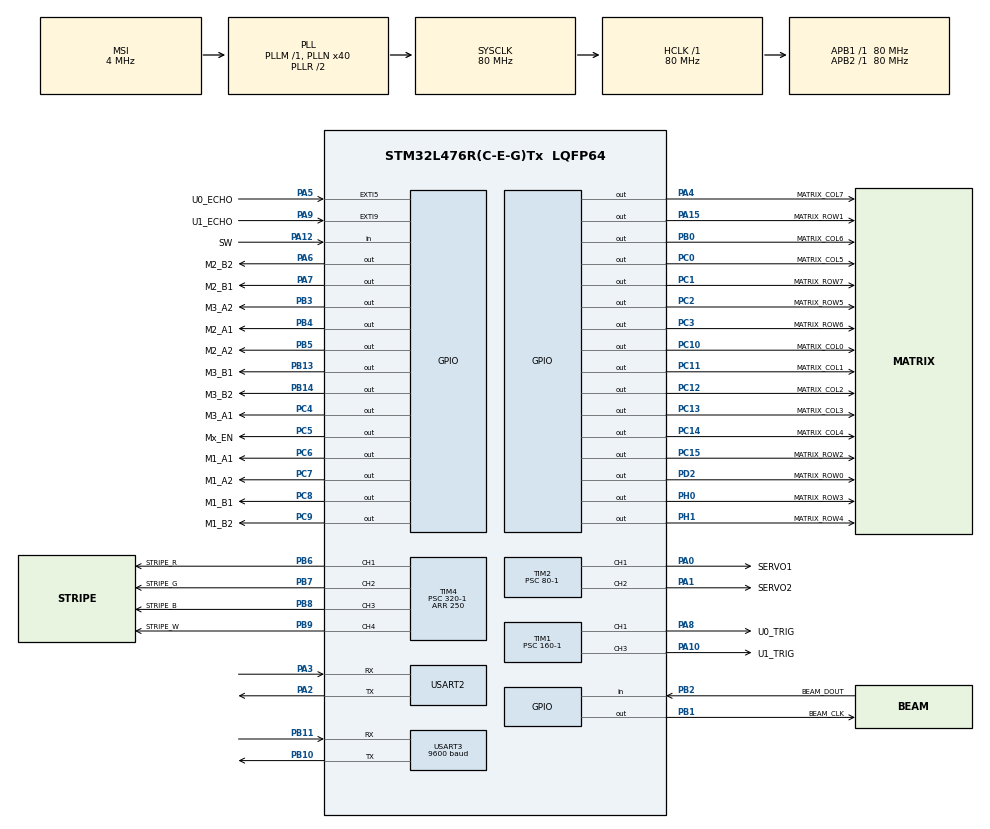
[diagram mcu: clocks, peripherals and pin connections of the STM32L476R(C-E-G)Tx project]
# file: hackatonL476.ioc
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Dma.Request0=USART3_RX
Dma.USART3_RX.0.Direction=DMA_PERIPH_TO_MEMORY
Dma.USART3_RX.0.Instance=DMA1_Channel3
Dma.USART3_RX.0.MemDataAlignment=DMA_MDATAALIGN_BYTE
Dma.USART3_RX.0.MemInc=DMA_MINC_ENABLE
Dma.USART3_RX.0.Mode=DMA_CIRCULAR
Dma.USART3_RX.0.PeriphDataAlignment=DMA_PDATAALIGN_BYTE
Dma.USART3_RX.0.PeriphInc=DMA_PINC_DISABLE
Dma.USART3_RX.0.Priority=DMA_PRIORITY_LOW
Mcu.Family=STM32L4
Mcu.Name=STM32L476R(C-E-G)Tx
Mcu.Package=LQFP64
NVIC.DMA1_Channel3_IRQn=true\:0\:0\:false\:false\:true\:false\:true\:true
NVIC.EXTI9_5_IRQn=true\:0\:0\:false\:false\:true\:true\:true\:true
NVIC.PriorityGroup=NVIC_PRIORITYGROUP_4
NVIC.TIM7_IRQn=true\:0\:0\:false\:false\:true\:true\:true\:true
NVIC.USART3_IRQn=true\:0\:0\:false\:false\:true\:true\:true\:true
PA0.GPIO_Label=SERVO1
PA0.Signal=S_TIM2_CH1
PA1.GPIO_Label=SERVO2
PA1.Signal=S_TIM2_CH2
PA10.GPIO_Label=U1_TRIG
PA10.Signal=S_TIM1_CH3
PA12.GPIO_Label=SW
PA12.GPIO_PuPd=GPIO_PULLUP
PA12.Signal=GPIO_Input
PA13\ (JTMS-SWDIO).Mode=Serial_Wire
PA13\ (JTMS-SWDIO).Signal=SYS_JTMS-SWDIO
PA14\ (JTCK-SWCLK).Mode=Serial_Wire
PA14\ (JTCK-SWCLK).Signal=SYS_JTCK-SWCLK
PA15\ (JTDI).GPIO_Label=MATRIX_ROW1
PA15\ (JTDI).Signal=GPIO_Output
PA2.Mode=Asynchronous
PA2.Signal=USART2_TX
PA3.Mode=Asynchronous
PA3.Signal=USART2_RX
PA4.GPIO_Label=MATRIX_COL7
PA4.Signal=GPIO_Output
PA5.GPIO_Label=U0_ECHO
PA5.GPIO_ModeDefaultEXTI=GPIO_MODE_IT_RISING_FALLING
PA5.Signal=GPXTI5
PA6.GPIO_Label=M2_B2
PA6.Signal=GPIO_Output
PA7.GPIO_Label=M2_B1
PA7.Signal=GPIO_Output
PA8.GPIO_Label=U0_TRIG
PA8.Signal=S_TIM1_CH1
PA9.GPIO_Label=U1_ECHO
PA9.GPIO_ModeDefaultEXTI=GPIO_MODE_IT_RISING_FALLING
PA9.Signal=GPXTI9
PB0.GPIO_Label=MATRIX_COL6
PB0.Signal=GPIO_Output
PB1.GPIO_Label=BEAM_CLK
PB1.Signal=GPIO_Output
PB10.Mode=Asynchronous
PB10.Signal=USART3_TX
PB11.Mode=Asynchronous
PB11.Signal=USART3_RX
PB13.GPIO_Label=M3_B1
PB13.Signal=GPIO_Output
PB14.GPIO_Label=M3_B2
PB14.Signal=GPIO_Output
PB2.GPIO_Label=BEAM_DOUT
PB2.Signal=GPIO_Input
PB3\ (JTDO-TRACESWO).GPIO_Label=M3_A2
PB3\ (JTDO-TRACESWO).Signal=GPIO_Output
PB4\ (NJTRST).GPIO_Label=M2_A1
PB4\ (NJTRST).Signal=GPIO_Output
PB5.GPIO_Label=M2_A2
PB5.Signal=GPIO_Output
PB6.GPIO_Label=STRIPE_R
PB6.Signal=S_TIM4_CH1
PB7.GPIO_Label=STRIPE_G
PB7.Signal=S_TIM4_CH2
PB8.GPIO_Label=STRIPE_B
PB8.Signal=S_TIM4_CH3
PB9.GPIO_Label=STRIPE_W
PB9.Signal=S_TIM4_CH4
PC0.GPIO_Label=MATRIX_COL5
PC0.Signal=GPIO_Output
PC1.GPIO_Label=MATRIX_ROW7
PC1.Signal=GPIO_Output
PC10.GPIO_Label=MATRIX_COL0
PC10.Signal=GPIO_Output
PC11.GPIO_Label=MATRIX_COL1
PC11.Signal=GPIO_Output
PC12.GPIO_Label=MATRIX_COL2
PC12.Signal=GPIO_Output
PC13.GPIO_Label=MATRIX_COL3
PC13.Signal=GPIO_Output
PC14-OSC32_IN\ (PC14).GPIO_Label=MATRIX_COL4
PC14-OSC32_IN\ (PC14).Signal=GPIO_Output
PC15-OSC32_OUT\ (PC15).GPIO_Label=MATRIX_ROW2
PC15-OSC32_OUT\ (PC15).Signal=GPIO_Output
PC2.GPIO_Label=MATRIX_ROW5
PC2.Signal=GPIO_Output
PC3.GPIO_Label=MATRIX_ROW6
PC3.Signal=GPIO_Output
PC4.GPIO_Label=M3_A1
PC4.Signal=GPIO_Output
PC5.GPIO_Label=Mx_EN
PC5.Signal=GPIO_Output
PC6.GPIO_Label=M1_A1
PC6.Signal=GPIO_Output
PC7.GPIO_Label=M1_A2
PC7.Signal=GPIO_Output
PC8.GPIO_Label=M1_B1
PC8.Signal=GPIO_Output
PC9.GPIO_Label=M1_B2
PC9.Signal=GPIO_Output
PD2.GPIO_Label=MATRIX_ROW0
PD2.Signal=GPIO_Output
PH0-OSC_IN\ (PH0).GPIO_Label=MATRIX_ROW3
PH0-OSC_IN\ (PH0).Signal=GPIO_Output
PH1-OSC_OUT\ (PH1).GPIO_Label=MATRIX_ROW4
PH1-OSC_OUT\ (PH1).Signal=GPIO_Output
ProjectManager.HeapSize=0x200
ProjectManager.StackSize=0x400
ProjectManager.TargetToolchain=STM32CubeIDE
RCC.AHBFreq_Value=80000000
RCC.APB1Freq_Value=80000000
RCC.APB1TimFreq_Value=80000000
RCC.APB2Freq_Value=80000000
RCC.APB2TimFreq_Value=80000000
RCC.CortexFreq_Value=80000000
RCC.HCLKFreq_Value=80000000
RCC.HSE_VALUE=8000000
RCC.HSI_VALUE=16000000
RCC.LSE_VALUE=32768
RCC.MSI_VALUE=4000000
RCC.PLLN=40
RCC.SYSCLKFreq_VALUE=80000000
RCC.SYSCLKSource=RCC_SYSCLKSOURCE_PLLCLK
RCC.VCOOutputFreq_Value=160000000
SH.S_TIM1_CH1.0=TIM1_CH1,PWM Generation1 CH1
SH.S_TIM1_CH3.0=TIM1_CH3,PWM Generation3 CH3
SH.S_TIM2_CH1.0=TIM2_CH1,PWM Generation1 CH1
SH.S_TIM2_CH2.0=TIM2_CH2,PWM Generation2 CH2
SH.S_TIM4_CH1.0=TIM4_CH1,PWM Generation1 CH1
SH.S_TIM4_CH2.0=TIM4_CH2,PWM Generation2 CH2
SH.S_TIM4_CH3.0=TIM4_CH3,PWM Generation3 CH3
SH.S_TIM4_CH4.0=TIM4_CH4,PWM Generation4 CH4
TIM1.Channel-PWM\ Generation1\ CH1=TIM_CHANNEL_1
TIM1.Channel-PWM\ Generation3\ CH3=TIM_CHANNEL_3
TIM1.Period=50000
TIM1.Prescaler=160-1
TIM1.Pulse-PWM\ Generation1\ CH1=5
TIM1.Pulse-PWM\ Generation3\ CH3=5
TIM2.Channel-PWM\ Generation1\ CH1=TIM_CHANNEL_1
TIM2.Channel-PWM\ Generation2\ CH2=TIM_CHANNEL_2
TIM2.Period=20000
TIM2.Prescaler=80-1
TIM4.Channel-PWM\ Generation1\ CH1=TIM_CHANNEL_1
TIM4.Channel-PWM\ Generation2\ CH2=TIM_CHANNEL_2
TIM4.Channel-PWM\ Generation3\ CH3=TIM_CHANNEL_3
TIM4.Channel-PWM\ Generation4\ CH4=TIM_CHANNEL_4
TIM4.Period=250
TIM4.Prescaler=320-1
TIM7.Period=1000
TIM7.Prescaler=80-1
USART2.VirtualMode-Asynchronous=VM_ASYNC
USART3.BaudRate=9600
USART3.VirtualMode-Asynchronous=VM_ASYNC
VP_TIM7_VS_ClockSourceINT.Mode=Enable_Timer
board=custom

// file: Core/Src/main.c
/* USER CODE BEGIN Header */
/**
  ******************************************************************************
  * @file           : main.c
  * @brief          : Main program body
  ******************************************************************************
  * @attention
  *
  * Copyright (c) 2024 STMicroelectronics.
  * All rights reserved.
  *
  * This software is licensed under terms that can be found in the LICENSE file
  * in the root directory of this software component.
  * If no LICENSE file comes with this software, it is provided AS-IS.
  *
  ******************************************************************************
  */
/* USER CODE END Header */
#include "main.h"

/* USER CODE BEGIN Includes */

#include <stdbool.h>
#include <stdio.h>
#include <string.h>
#include <stdarg.h>
#include <math.h>

#include "protocol.h"

/* USER CODE END Includes */

TIM_HandleTypeDef htim1;
TIM_HandleTypeDef htim2;
TIM_HandleTypeDef htim4;
TIM_HandleTypeDef htim7;

UART_HandleTypeDef huart2;
UART_HandleTypeDef huart3;
DMA_HandleTypeDef hdma_usart3_rx;

void SystemClock_Config(void);
static void MX_GPIO_Init(void);
static void MX_DMA_Init(void);
static void MX_TIM7_Init(void);
static void MX_TIM1_Init(void);
static void MX_USART2_UART_Init(void);
static void MX_TIM4_Init(void);
static void MX_TIM2_Init(void);
static void MX_USART3_UART_Init(void);

/* USER CODE BEGIN 0 */

#define SIGNAL_SET(signal, state) HAL_GPIO_WritePin((signal).port, (signal).pin, (state))
#define SIGNAL_GET(signal)        HAL_GPIO_ReadPin((signal).port, (signal).pin)

typedef struct {
	GPIO_TypeDef *port;
	uint16_t pin;
} signal_t;

#define MOTOR_NUM 3

typedef enum {
	MOTOR_DIR_NO_MOTION = 0,
	MOTOR_DIR_FORWARD = -1,
	MOTOR_DIR_BACKWARD = 1,
} motor_dir_t;

typedef struct {
	signal_t a1;
	signal_t a2;
	signal_t b1;
	signal_t b2;
	int8_t state;
	motor_dir_t dir;
	uint8_t counter;
	uint8_t prescaler;
} motor_t;

static motor_t motors[MOTOR_NUM];
static signal_t motor_sw;

void drive_step(motor_t *motor) {
	if(motor->dir==MOTOR_DIR_NO_MOTION) {
		return;
	}

	motor->counter++;
	if(motor->counter!=(motor->prescaler+1)) {
		return;
	}
	motor->counter %=(motor->prescaler+1);

	switch(motor->state) {
	    case 0: {
	    	SIGNAL_SET(motor->b2, GPIO_PIN_RESET);
	    	SIGNAL_SET(motor->a2, GPIO_PIN_RESET);
	    	SIGNAL_SET(motor->b1, GPIO_PIN_RESET);
	    	SIGNAL_SET(motor->a1, GPIO_PIN_SET);
	    	motor->state +=motor->dir;
	    } break;
	    case 1: {
	    	SIGNAL_SET(motor->a1, GPIO_PIN_RESET);
	    	SIGNAL_SET(motor->b2, GPIO_PIN_RESET);
	    	SIGNAL_SET(motor->a2, GPIO_PIN_RESET);
	    	SIGNAL_SET(motor->b1, GPIO_PIN_SET);
	    	motor->state +=motor->dir;
	    } break;
	    case 2: {
	    	SIGNAL_SET(motor->b1, GPIO_PIN_RESET);
	    	SIGNAL_SET(motor->a1, GPIO_PIN_RESET);
	    	SIGNAL_SET(motor->b2, GPIO_PIN_RESET);
	    	SIGNAL_SET(motor->a2, GPIO_PIN_SET);
	    	motor->state +=motor->dir;
      } break;
	    case 3: {
	    	SIGNAL_SET(motor->a2, GPIO_PIN_RESET);
	    	SIGNAL_SET(motor->b1, GPIO_PIN_RESET);
	    	SIGNAL_SET(motor->a1, GPIO_PIN_RESET);
	    	SIGNAL_SET(motor->b2, GPIO_PIN_SET);
	    	motor->state +=motor->dir;
      } break;
	    default: {
	      motor->state = 0;
      } break;
   }

   if(motor->state > 3) {
      motor->state = 0;
    }

   if(motor->state < 0) {
      motor->state = 3;
    }
}

void motor_vel(motor_t *motor, int8_t vel) {
	vel = (vel>100) ? 100 : (vel<-100) ? -100 : vel;

	if(vel>0) {
		motor->dir = MOTOR_DIR_FORWARD;
		motor->prescaler = (100 - vel)/10;
	} else if(vel<0) {
		motor->dir = MOTOR_DIR_BACKWARD;
		motor->prescaler = (100 + vel)/10;
	} else {
		motor->dir = MOTOR_DIR_NO_MOTION;
		motor->prescaler = 0;
	}
}

#define MATRIX_COLS 8
#define MATRIX_ROWS 8

typedef struct {
	signal_t cols[MATRIX_COLS];
	signal_t rows[MATRIX_ROWS];
	volatile uint8_t current_row;
  uint8_t bitmap[8][8];
} matrix_t;

uint8_t bitmap_empty[8][8] = {
	{0, 0, 0, 0, 0, 0, 0, 0},
	{0, 0, 0, 0, 0, 0, 0, 0},
	{0, 0, 0, 0, 0, 0, 0, 0},
	{0, 0, 0, 0, 0, 0, 0, 0},
	{0, 0, 0, 0, 0, 0, 0, 0},
	{0, 0, 0, 0, 0, 0, 0, 0},
	{0, 0, 0, 0, 0, 0, 0, 0},
	{0, 0, 0, 0, 0, 0, 0, 0},
};

uint8_t bitmap_full[8][8] = {
	{1, 1, 1, 1, 1, 1, 1, 1},
	{1, 1, 1, 1, 1, 1, 1, 1},
	{1, 1, 1, 1, 1, 1, 1, 1},
	{1, 1, 1, 1, 1, 1, 1, 1},
	{1, 1, 1, 1, 1, 1, 1, 1},
	{1, 1, 1, 1, 1, 1, 1, 1},
	{1, 1, 1, 1, 1, 1, 1, 1},
	{1, 1, 1, 1, 1, 1, 1, 1},
};

uint8_t bitmap_smile[8][8] = {
	{0, 0, 0, 0, 0, 0, 0, 0},
	{0, 1, 1, 0, 0, 1, 1, 0},
	{0, 1, 1, 0, 0, 1, 1, 0},
	{0, 0, 0, 0, 0, 0, 0, 0},
	{0, 0, 0, 0, 0, 0, 0, 0},
	{0, 1, 0, 0, 0, 0, 1, 0},
	{0, 1, 1, 0, 0, 1, 1, 0},
	{0, 0, 1, 1, 1, 1, 0, 0},
};

uint8_t bitmap_heart[8][8] = {
	{0, 1, 1, 0, 0, 1, 1, 0},
	{1, 1, 1, 1, 1, 1, 1, 1},
	{1, 1, 1, 1, 1, 1, 1, 1},
	{1, 1, 1, 1, 1, 1, 1, 1},
	{1, 1, 1, 1, 1, 1, 1, 1},
	{0, 1, 1, 1, 1, 1, 1, 0},
	{0, 0, 1, 1, 1, 1, 0, 0},
	{0, 0, 0, 1, 1, 0, 0, 0},
};

uint8_t bitmap_konar[8][8] = {
	{0, 0, 1, 1, 1, 0, 0, 0},
	{0, 1, 1, 1, 0, 1, 1, 0},
	{1, 1, 1, 1, 1, 0, 1, 1},
	{1, 1, 0, 1, 1, 1, 0, 0},
	{1, 1, 1, 1, 0, 1, 0, 1},
	{0, 1, 0, 1, 0, 0, 1, 1},
	{0, 0, 0, 1, 0, 0, 0, 0},
	{0, 0, 0, 1, 0, 0, 0, 0},
};

void matrix_step(matrix_t *matrix) {
	for(uint8_t i=0; i<MATRIX_ROWS; i++) {
		SIGNAL_SET(matrix->rows[i], 1);
	}
	for(uint8_t i=0; i<MATRIX_COLS; i++) {
		SIGNAL_SET(matrix->cols[i], 0);
	}

	matrix->current_row++;
	matrix->current_row %=MATRIX_ROWS;

	SIGNAL_SET(matrix->rows[matrix->current_row], 0);
	for(uint8_t i=0; i<MATRIX_COLS; i++) {
		SIGNAL_SET(matrix->cols[i], matrix->bitmap[MATRIX_COLS - i - 1][matrix->current_row]);
	}
}

static matrix_t matrix = {0};

void HAL_TIM_PeriodElapsedCallback(TIM_HandleTypeDef *htim) {
	if(htim==&htim7) {
		for(uint8_t i=0; i<MOTOR_NUM; i++) {
			drive_step(&motors[i]);
		}

		matrix_step(&matrix);
	}
}

#define ULTRA_NUM            2
#define ULTRA_TRIG_TIM       htim1
#define ULTRA_TO_SEC(delta)  (0.000002f*(delta))
#define ULTRA_SPEED_OF_SOUND 343.f

typedef struct {
	signal_t echo;
	uint32_t start;
	uint32_t end;
	uint32_t delta;
	bool valid;
	float dist;
} ultrasonic_t;

static ultrasonic_t ultras[ULTRA_NUM] = {0};

void HAL_GPIO_EXTI_Callback(uint16_t GPIO_Pin) {
	for(uint8_t i=0; i<ULTRA_NUM; i++) {
		if(GPIO_Pin==ultras[i].echo.pin) {
			if(HAL_GPIO_ReadPin(ultras[i].echo.port, ultras[i].echo.pin)) {
				ultras[i].valid = false;
				ultras[i].start = __HAL_TIM_GET_COUNTER(&ULTRA_TRIG_TIM);
			} else {
				ultras[i].end = __HAL_TIM_GET_COUNTER(&ULTRA_TRIG_TIM);
				ultras[i].delta = ultras[i].end - ultras[i].start;
				ultras[i].dist = ULTRA_TO_SEC(ultras[i].delta)*ULTRA_SPEED_OF_SOUND*0.5f;
				ultras[i].valid = true;
			}
		}
	}
}

/*static void logger(const char *format, ...) {
    va_list args;
    va_start(args, format);

	char buffer[256];
    const uint16_t len = vsprintf(buffer, format, args);

    va_end(args);

    HAL_UART_Transmit(&huart2, (uint8_t *)buffer, len, HAL_MAX_DELAY);
}*/

#define LOAD_CALIB_0KG   8488400.f
#define LOAD_CALIB_XKG   8433700.f
#define LOAD_CALIB_VAL   0.261
#define LOAD_TIMEOUT     10

typedef struct {
  signal_t dout;
  signal_t clk;
  int32_t data;
  float load;
} beam_t;

void beam_init(beam_t *beam) {
	//HAL_GPIO_WritePin(LOAD_RATE_GPIO_Port, LOAD_RATE_Pin, GPIO_PIN_RESET);

	SIGNAL_SET(beam->clk, GPIO_PIN_SET);
	HAL_Delay(10);
	SIGNAL_SET(beam->clk, GPIO_PIN_RESET);
	HAL_Delay(10);
}

bool beam_read(beam_t *beam) {
	beam->data = 0;

	uint32_t start_time = HAL_GetTick();

	while(SIGNAL_GET(beam->dout) == GPIO_PIN_SET) {
		if((HAL_GetTick() - start_time)>LOAD_TIMEOUT) {
			return false;
		}
	}

	for(uint8_t i=0; i<24; i++) {
		SIGNAL_SET(beam->clk, GPIO_PIN_SET);
		for(volatile uint32_t i=0; i<100; i++) {}
		SIGNAL_SET(beam->clk, GPIO_PIN_RESET);
		for(volatile uint32_t i=0; i<100; i++) {}

		beam->data <<=1;

		if(SIGNAL_GET(beam->dout) == GPIO_PIN_SET) {
			beam->data |=0x01;
		}
	}

	beam->data ^=0x800000;

	SIGNAL_SET(beam->clk, GPIO_PIN_SET);
	for(volatile uint32_t i=0; i<100; i++) {}
	SIGNAL_SET(beam->clk, GPIO_PIN_RESET);
	for(volatile uint32_t i=0; i<100; i++) {}

	beam->load = LOAD_CALIB_VAL*((float)(beam->data) - LOAD_CALIB_0KG)/(LOAD_CALIB_XKG - LOAD_CALIB_0KG);

	return true;
}

static beam_t beam = {0};

#define STRIPE_TIM   htim4
#define STRIPE_CHN_R TIM_CHANNEL_1
#define STRIPE_CHN_G TIM_CHANNEL_4
#define STRIPE_CHN_B TIM_CHANNEL_2
#define STRIPE_CHN_W TIM_CHANNEL_3

#define ARRAY_SIZE 12

const uint8_t array[ARRAY_SIZE][3] = {
  	{  0,   0, 255},
  	{127,   0, 255},
  	{255,   0, 255},
  	{255,   0, 127},
	{255,   0,   0},
	{255, 127,   0},
	{255, 255,   0},
	{127, 255,   0},
	{  0, 255,   0},
	{  0, 255, 127},
  	{  0, 255, 255},
  	{  0, 127, 255},
};

void stripe_init() {
	HAL_TIM_Base_Start(&STRIPE_TIM);
	HAL_TIM_PWM_Start(&STRIPE_TIM, STRIPE_CHN_R);
	HAL_TIM_PWM_Start(&STRIPE_TIM, STRIPE_CHN_G);
	HAL_TIM_PWM_Start(&STRIPE_TIM, STRIPE_CHN_B);
	HAL_TIM_PWM_Start(&STRIPE_TIM, STRIPE_CHN_W);
}

void stripe_set(uint8_t r, uint8_t g, uint8_t b, uint8_t w) {
	r = (r>250) ? 250 : r;
	g = (g>250) ? 250 : g;
	b = (b>250) ? 250 : b;
	w = (w>250) ? 250 : w;

	__HAL_TIM_SET_COMPARE(&STRIPE_TIM, STRIPE_CHN_R, r);
	__HAL_TIM_SET_COMPARE(&STRIPE_TIM, STRIPE_CHN_G, g);
	__HAL_TIM_SET_COMPARE(&STRIPE_TIM, STRIPE_CHN_B, b);
	__HAL_TIM_SET_COMPARE(&STRIPE_TIM, STRIPE_CHN_W, w);
}

void servos_set(const float angle1, const float angle2) {
	const uint32_t compare1 = ((angle1/90.f) + 1.f)*1000;
	const uint32_t compare2 = ((angle2/90.f) + 1.f)*1000;

	__HAL_TIM_SET_COMPARE(&htim2, TIM_CHANNEL_1, compare1);
	__HAL_TIM_SET_COMPARE(&htim2, TIM_CHANNEL_2, compare2);
}

static protocol_t protocol = {0};
static protocol_frame_t frame = {0};

#define UART_BUFFER_SIZE	16

static uint8_t uart_buffer[UART_BUFFER_SIZE] = {0};
static volatile bool uart_ready = false;

void HAL_UART_RxCpltCallback(UART_HandleTypeDef *huart) {
	if(huart==&huart3) {
		uart_ready = true;
	}
}

/* USER CODE END 0 */

int main(void)
{

  /* MCU Configuration--------------------------------------------------------*/

  /* Reset of all peripherals, Initializes the Flash interface and the Systick. */
  HAL_Init();

  /* Configure the system clock */
  SystemClock_Config();

  /* Initialize all configured peripherals */
  MX_GPIO_Init();
  MX_DMA_Init();
  MX_TIM7_Init();
  MX_TIM1_Init();
  MX_USART2_UART_Init();
  MX_TIM4_Init();
  MX_TIM2_Init();
  MX_USART3_UART_Init();

  /* Infinite loop */
  /* USER CODE BEGIN WHILE */

  motors[0].a1 = (signal_t){.port = M1_A1_GPIO_Port, .pin = M1_A1_Pin};
  motors[0].a2 = (signal_t){.port = M1_A2_GPIO_Port, .pin = M1_A2_Pin};
  motors[0].b1 = (signal_t){.port = M1_B1_GPIO_Port, .pin = M1_B1_Pin};
  motors[0].b2 = (signal_t){.port = M1_B2_GPIO_Port, .pin = M1_B2_Pin};

  motors[1].a1 = (signal_t){.port = M2_A1_GPIO_Port, .pin = M2_A1_Pin};
  motors[1].a2 = (signal_t){.port = M2_A2_GPIO_Port, .pin = M2_A2_Pin};
  motors[1].b1 = (signal_t){.port = M2_B1_GPIO_Port, .pin = M2_B1_Pin};
  motors[1].b2 = (signal_t){.port = M2_B2_GPIO_Port, .pin = M2_B2_Pin};

  motors[2].a1 = (signal_t){.port = M3_A1_GPIO_Port, .pin = M3_A1_Pin};
  motors[2].a2 = (signal_t){.port = M3_A2_GPIO_Port, .pin = M3_A2_Pin};
  motors[2].b1 = (signal_t){.port = M3_B1_GPIO_Port, .pin = M3_B1_Pin};
  motors[2].b2 = (signal_t){.port = M3_B2_GPIO_Port, .pin = M3_B2_Pin};

  motor_sw = (signal_t){.port = SW_GPIO_Port, .pin = SW_Pin};

  matrix.rows[1] = (signal_t){.port = MATRIX_ROW0_GPIO_Port, .pin = MATRIX_ROW0_Pin};
  matrix.rows[0] = (signal_t){.port = MATRIX_COL1_GPIO_Port, .pin = MATRIX_COL1_Pin};
  matrix.rows[7] = (signal_t){.port = MATRIX_COL2_GPIO_Port, .pin = MATRIX_COL2_Pin};
  matrix.rows[2] = (signal_t){.port = MATRIX_COL3_GPIO_Port, .pin = MATRIX_COL3_Pin};
  matrix.rows[4] = (signal_t){.port = MATRIX_COL4_GPIO_Port, .pin = MATRIX_COL4_Pin};
  matrix.rows[3] = (signal_t){.port = MATRIX_COL5_GPIO_Port, .pin = MATRIX_COL5_Pin};
  matrix.rows[5] = (signal_t){.port = MATRIX_COL6_GPIO_Port, .pin = MATRIX_COL6_Pin};
  matrix.rows[6] = (signal_t){.port = MATRIX_COL7_GPIO_Port, .pin = MATRIX_COL7_Pin};

  matrix.cols[1] = (signal_t){.port = MATRIX_COL0_GPIO_Port, .pin = MATRIX_COL0_Pin};
  matrix.cols[3] = (signal_t){.port = MATRIX_ROW1_GPIO_Port, .pin = MATRIX_ROW1_Pin};
  matrix.cols[0] = (signal_t){.port = MATRIX_ROW2_GPIO_Port, .pin = MATRIX_ROW2_Pin};
  matrix.cols[4] = (signal_t){.port = MATRIX_ROW3_GPIO_Port, .pin = MATRIX_ROW3_Pin};
  matrix.cols[6] = (signal_t){.port = MATRIX_ROW4_GPIO_Port, .pin = MATRIX_ROW4_Pin};
  matrix.cols[5] = (signal_t){.port = MATRIX_ROW5_GPIO_Port, .pin = MATRIX_ROW5_Pin};
  matrix.cols[2] = (signal_t){.port = MATRIX_ROW6_GPIO_Port, .pin = MATRIX_ROW6_Pin};
  matrix.cols[7] = (signal_t){.port = MATRIX_ROW7_GPIO_Port, .pin = MATRIX_ROW7_Pin};

  ultras[0].echo = (signal_t){.port = U0_ECHO_GPIO_Port, .pin = U0_ECHO_Pin};
  ultras[1].echo = (signal_t){.port = U1_ECHO_GPIO_Port, .pin = U1_ECHO_Pin};

  beam.clk  = (signal_t){.port = BEAM_CLK_GPIO_Port, .pin = BEAM_CLK_Pin};
  beam.dout = (signal_t){.port = BEAM_DOUT_GPIO_Port, .pin = BEAM_DOUT_Pin};

  HAL_GPIO_WritePin(Mx_EN_GPIO_Port, Mx_EN_Pin, 1);
  HAL_TIM_Base_Start_IT(&htim7); // motors steps & matrix

  HAL_TIM_Base_Start(&htim1); // ultrasonic trigger
  HAL_TIM_PWM_Start(&htim1, TIM_CHANNEL_1);
  HAL_TIM_PWM_Start(&htim1, TIM_CHANNEL_3);

  HAL_TIM_Base_Start(&htim2); // servos
  HAL_TIM_PWM_Start(&htim2, TIM_CHANNEL_1);
  HAL_TIM_PWM_Start(&htim2, TIM_CHANNEL_2);

  HAL_UART_Receive_DMA(&huart3, uart_buffer, UART_BUFFER_SIZE);

  beam_init(&beam);
  stripe_init();

  uint32_t servos_time = 0;

  uint32_t last_msg = HAL_GetTick();
  uint32_t last_color = HAL_GetTick();
  uint32_t last_color_inc = HAL_GetTick();
  uint8_t color_i = 0;

  bool first_time = true;
  uint32_t mass_time = 0;
  float current_mass = 0;

  if(beam_read(&beam)) {
	  current_mass = beam.load;
  }

  while(1) {
	  const uint32_t time = HAL_GetTick();

	  if(uart_ready) {
		  uart_ready = false;
		  for(uint8_t i=0; i<UART_BUFFER_SIZE; i++) {
			  if(protocol_consume(&protocol, uart_buffer[i])) {
				  memcpy(&frame, &protocol.frame, sizeof(frame));
				  last_msg = time;

				  if(frame.motor_left>0) {
					  frame.motor_left = 90;
				  }

				  if(frame.motor_left<0) {
					  frame.motor_left = -90;
				  }

				  if(frame.motor_right>0) {
					  frame.motor_right = 90;
				  }

				  if(frame.motor_right<0) {
					  frame.motor_right = -90;
				  }

				  motor_vel(&motors[1], frame.motor_left);
				  motor_vel(&motors[2], frame.motor_right);

				  switch(frame.matrix) {
					  case PROTOCOL_MATRIX_EMPTY: {
						  memcpy(matrix.bitmap, bitmap_empty, 64);
					  } break;
					  case PROTOCOL_MATRIX_FULL: {
						  memcpy(matrix.bitmap, bitmap_full, 64);
					  } break;
					  case PROTOCOL_MATRIX_HEART: {
						  memcpy(matrix.bitmap, bitmap_heart, 64);
					  } break;
					  case PROTOCOL_MATRIX_SMILE: {
						  memcpy(matrix.bitmap, bitmap_smile, 64);
					  } break;
					  case PROTOCOL_MATRIX_KONAR: {
						  memcpy(matrix.bitmap, bitmap_konar, 64);
					  } break;
				  }
			  }
		  }
	  }

	  if((time - last_msg)>=5000) {
		  last_msg = time;
		  HAL_UART_Receive_DMA(&huart3, uart_buffer, UART_BUFFER_SIZE);
		  motors[1].dir = MOTOR_DIR_NO_MOTION;
		  motors[2].dir = MOTOR_DIR_NO_MOTION;
	  }

	  if((time - mass_time)>=1000) {
		  mass_time = time;

		if(beam_read(&beam)) {
			const float delta = beam.load - current_mass;
			current_mass = beam.load;

			if(delta<-0.010f && !first_time) {
				memcpy(matrix.bitmap, bitmap_heart, 64);
				stripe_set(0, 255, 0, 0);
				servos_set(30, 0);
				motors[0].dir = MOTOR_DIR_NO_MOTION;
				motors[1].dir = MOTOR_DIR_NO_MOTION;
				motors[2].dir = MOTOR_DIR_NO_MOTION;
				HAL_Delay(3000);
				stripe_set(0, 0, 0, 0);
				memcpy(matrix.bitmap, bitmap_empty, 64);
			}

			first_time = false;
		}
	  }

	  if((time - last_color_inc)>=1000) {
		  last_color_inc = time;

		  color_i++;
	  }

	  if((time - last_color)>=10) {
		  const uint8_t *color1 = array[(color_i+0)%ARRAY_SIZE];
		  const uint8_t *color2 = array[(color_i+1)%ARRAY_SIZE];

		  const float frac = (time - last_color_inc)/1000.f;
		  const float r = color1[0]*(1 - frac) + color2[0]*frac;
		  const float g = color1[1]*(1 - frac) + color2[1]*frac;
		  const float b = color1[2]*(1 - frac) + color2[2]*frac;

		  stripe_set(r, g, b, 0);

		  last_color = time;
	  }

	  /*if(ultras[0].valid && ultras[1].valid) {
		  logger("left %10.3fm      right %10.3fm\n\r", ultras[0].dist, ultras[1].dist);
		  HAL_Delay(100);
	  }

	  if(beam_read(&beam)) {
		  logger("load = %10.3fkg raw = %lu\n\r", beam.load, beam.data);
		  HAL_Delay(100);
	  }*/

	  if((time - servos_time)>=60) {
		  servos_time = time;

		  const float angle = sinf(2.f*3.1415f*0.2f*0.001f*time)*30.f;

		  servos_set(angle, -angle + 60);
	  }

    /* USER CODE END WHILE */

	}
}

void SystemClock_Config(void)
{
  RCC_OscInitTypeDef RCC_OscInitStruct = {0};
  RCC_ClkInitTypeDef RCC_ClkInitStruct = {0};

  /** Configure the main internal regulator output voltage
  */
  if (HAL_PWREx_ControlVoltageScaling(PWR_REGULATOR_VOLTAGE_SCALE1) != HAL_OK)
  {
    Error_Handler();
  }

  /** Initializes the RCC Oscillators according to the specified parameters
  * in the RCC_OscInitTypeDef structure.
  */
  RCC_OscInitStruct.OscillatorType = RCC_OSCILLATORTYPE_MSI;
  RCC_OscInitStruct.MSIState = RCC_MSI_ON;
  RCC_OscInitStruct.MSICalibrationValue = 0;
  RCC_OscInitStruct.MSIClockRange = RCC_MSIRANGE_6;
  RCC_OscInitStruct.PLL.PLLState = RCC_PLL_ON;
  RCC_OscInitStruct.PLL.PLLSource = RCC_PLLSOURCE_MSI;
  RCC_OscInitStruct.PLL.PLLM = 1;
  RCC_OscInitStruct.PLL.PLLN = 40;
  RCC_OscInitStruct.PLL.PLLP = RCC_PLLP_DIV7;
  RCC_OscInitStruct.PLL.PLLQ = RCC_PLLQ_DIV2;
  RCC_OscInitStruct.PLL.PLLR = RCC_PLLR_DIV2;
  if (HAL_RCC_OscConfig(&RCC_OscInitStruct) != HAL_OK)
  {
    Error_Handler();
  }

  /** Initializes the CPU, AHB and APB buses clocks
  */
  RCC_ClkInitStruct.ClockType = RCC_CLOCKTYPE_HCLK|RCC_CLOCKTYPE_SYSCLK
                              |RCC_CLOCKTYPE_PCLK1|RCC_CLOCKTYPE_PCLK2;
  RCC_ClkInitStruct.SYSCLKSource = RCC_SYSCLKSOURCE_PLLCLK;
  RCC_ClkInitStruct.AHBCLKDivider = RCC_SYSCLK_DIV1;
  RCC_ClkInitStruct.APB1CLKDivider = RCC_HCLK_DIV1;
  RCC_ClkInitStruct.APB2CLKDivider = RCC_HCLK_DIV1;

  if (HAL_RCC_ClockConfig(&RCC_ClkInitStruct, FLASH_LATENCY_4) != HAL_OK)
  {
    Error_Handler();
  }
}

static void MX_TIM1_Init(void)
{

  TIM_MasterConfigTypeDef sMasterConfig = {0};
  TIM_OC_InitTypeDef sConfigOC = {0};
  TIM_BreakDeadTimeConfigTypeDef sBreakDeadTimeConfig = {0};

  htim1.Instance = TIM1;
  htim1.Init.Prescaler = 160-1;
  htim1.Init.CounterMode = TIM_COUNTERMODE_UP;
  htim1.Init.Period = 50000;
  htim1.Init.ClockDivision = TIM_CLOCKDIVISION_DIV1;
  htim1.Init.RepetitionCounter = 0;
  htim1.Init.AutoReloadPreload = TIM_AUTORELOAD_PRELOAD_DISABLE;
  if (HAL_TIM_PWM_Init(&htim1) != HAL_OK)
  {
    Error_Handler();
  }
  sMasterConfig.MasterOutputTrigger = TIM_TRGO_RESET;
  sMasterConfig.MasterOutputTrigger2 = TIM_TRGO2_RESET;
  sMasterConfig.MasterSlaveMode = TIM_MASTERSLAVEMODE_DISABLE;
  if (HAL_TIMEx_MasterConfigSynchronization(&htim1, &sMasterConfig) != HAL_OK)
  {
    Error_Handler();
  }
  sConfigOC.OCMode = TIM_OCMODE_PWM1;
  sConfigOC.Pulse = 5;
  sConfigOC.OCPolarity = TIM_OCPOLARITY_HIGH;
  sConfigOC.OCNPolarity = TIM_OCNPOLARITY_HIGH;
  sConfigOC.OCFastMode = TIM_OCFAST_DISABLE;
  sConfigOC.OCIdleState = TIM_OCIDLESTATE_RESET;
  sConfigOC.OCNIdleState = TIM_OCNIDLESTATE_RESET;
  if (HAL_TIM_PWM_ConfigChannel(&htim1, &sConfigOC, TIM_CHANNEL_1) != HAL_OK)
  {
    Error_Handler();
  }
  if (HAL_TIM_PWM_ConfigChannel(&htim1, &sConfigOC, TIM_CHANNEL_3) != HAL_OK)
  {
    Error_Handler();
  }
  sBreakDeadTimeConfig.OffStateRunMode = TIM_OSSR_DISABLE;
  sBreakDeadTimeConfig.OffStateIDLEMode = TIM_OSSI_DISABLE;
  sBreakDeadTimeConfig.LockLevel = TIM_LOCKLEVEL_OFF;
  sBreakDeadTimeConfig.DeadTime = 0;
  sBreakDeadTimeConfig.BreakState = TIM_BREAK_DISABLE;
  sBreakDeadTimeConfig.BreakPolarity = TIM_BREAKPOLARITY_HIGH;
  sBreakDeadTimeConfig.BreakFilter = 0;
  sBreakDeadTimeConfig.Break2State = TIM_BREAK2_DISABLE;
  sBreakDeadTimeConfig.Break2Polarity = TIM_BREAK2POLARITY_HIGH;
  sBreakDeadTimeConfig.Break2Filter = 0;
  sBreakDeadTimeConfig.AutomaticOutput = TIM_AUTOMATICOUTPUT_DISABLE;
  if (HAL_TIMEx_ConfigBreakDeadTime(&htim1, &sBreakDeadTimeConfig) != HAL_OK)
  {
    Error_Handler();
  }
  HAL_TIM_MspPostInit(&htim1);

}

static void MX_TIM2_Init(void)
{

  TIM_MasterConfigTypeDef sMasterConfig = {0};
  TIM_OC_InitTypeDef sConfigOC = {0};

  htim2.Instance = TIM2;
  htim2.Init.Prescaler = 80-1;
  htim2.Init.CounterMode = TIM_COUNTERMODE_UP;
  htim2.Init.Period = 20000;
  htim2.Init.ClockDivision = TIM_CLOCKDIVISION_DIV1;
  htim2.Init.AutoReloadPreload = TIM_AUTORELOAD_PRELOAD_DISABLE;
  if (HAL_TIM_PWM_Init(&htim2) != HAL_OK)
  {
    Error_Handler();
  }
  sMasterConfig.MasterOutputTrigger = TIM_TRGO_RESET;
  sMasterConfig.MasterSlaveMode = TIM_MASTERSLAVEMODE_DISABLE;
  if (HAL_TIMEx_MasterConfigSynchronization(&htim2, &sMasterConfig) != HAL_OK)
  {
    Error_Handler();
  }
  sConfigOC.OCMode = TIM_OCMODE_PWM1;
  sConfigOC.Pulse = 0;
  sConfigOC.OCPolarity = TIM_OCPOLARITY_HIGH;
  sConfigOC.OCFastMode = TIM_OCFAST_DISABLE;
  if (HAL_TIM_PWM_ConfigChannel(&htim2, &sConfigOC, TIM_CHANNEL_1) != HAL_OK)
  {
    Error_Handler();
  }
  if (HAL_TIM_PWM_ConfigChannel(&htim2, &sConfigOC, TIM_CHANNEL_2) != HAL_OK)
  {
    Error_Handler();
  }
  HAL_TIM_MspPostInit(&htim2);

}

static void MX_TIM4_Init(void)
{

  TIM_MasterConfigTypeDef sMasterConfig = {0};
  TIM_OC_InitTypeDef sConfigOC = {0};

  htim4.Instance = TIM4;
  htim4.Init.Prescaler = 320-1;
  htim4.Init.CounterMode = TIM_COUNTERMODE_UP;
  htim4.Init.Period = 250;
  htim4.Init.ClockDivision = TIM_CLOCKDIVISION_DIV1;
  htim4.Init.AutoReloadPreload = TIM_AUTORELOAD_PRELOAD_DISABLE;
  if (HAL_TIM_PWM_Init(&htim4) != HAL_OK)
  {
    Error_Handler();
  }
  sMasterConfig.MasterOutputTrigger = TIM_TRGO_RESET;
  sMasterConfig.MasterSlaveMode = TIM_MASTERSLAVEMODE_DISABLE;
  if (HAL_TIMEx_MasterConfigSynchronization(&htim4, &sMasterConfig) != HAL_OK)
  {
    Error_Handler();
  }
  sConfigOC.OCMode = TIM_OCMODE_PWM1;
  sConfigOC.Pulse = 0;
  sConfigOC.OCPolarity = TIM_OCPOLARITY_HIGH;
  sConfigOC.OCFastMode = TIM_OCFAST_DISABLE;
  if (HAL_TIM_PWM_ConfigChannel(&htim4, &sConfigOC, TIM_CHANNEL_1) != HAL_OK)
  {
    Error_Handler();
  }
  if (HAL_TIM_PWM_ConfigChannel(&htim4, &sConfigOC, TIM_CHANNEL_2) != HAL_OK)
  {
    Error_Handler();
  }
  if (HAL_TIM_PWM_ConfigChannel(&htim4, &sConfigOC, TIM_CHANNEL_3) != HAL_OK)
  {
    Error_Handler();
  }
  if (HAL_TIM_PWM_ConfigChannel(&htim4, &sConfigOC, TIM_CHANNEL_4) != HAL_OK)
  {
    Error_Handler();
  }
  HAL_TIM_MspPostInit(&htim4);

}

static void MX_TIM7_Init(void)
{

  TIM_MasterConfigTypeDef sMasterConfig = {0};

  htim7.Instance = TIM7;
  htim7.Init.Prescaler = 80-1;
  htim7.Init.CounterMode = TIM_COUNTERMODE_UP;
  htim7.Init.Period = 1000;
  htim7.Init.AutoReloadPreload = TIM_AUTORELOAD_PRELOAD_DISABLE;
  if (HAL_TIM_Base_Init(&htim7) != HAL_OK)
  {
    Error_Handler();
  }
  sMasterConfig.MasterOutputTrigger = TIM_TRGO_RESET;
  sMasterConfig.MasterSlaveMode = TIM_MASTERSLAVEMODE_DISABLE;
  if (HAL_TIMEx_MasterConfigSynchronization(&htim7, &sMasterConfig) != HAL_OK)
  {
    Error_Handler();
  }

}

static void MX_USART2_UART_Init(void)
{

  huart2.Instance = USART2;
  huart2.Init.BaudRate = 115200;
  huart2.Init.WordLength = UART_WORDLENGTH_8B;
  huart2.Init.StopBits = UART_STOPBITS_1;
  huart2.Init.Parity = UART_PARITY_NONE;
  huart2.Init.Mode = UART_MODE_TX_RX;
  huart2.Init.HwFlowCtl = UART_HWCONTROL_NONE;
  huart2.Init.OverSampling = UART_OVERSAMPLING_16;
  huart2.Init.OneBitSampling = UART_ONE_BIT_SAMPLE_DISABLE;
  huart2.AdvancedInit.AdvFeatureInit = UART_ADVFEATURE_NO_INIT;
  if (HAL_UART_Init(&huart2) != HAL_OK)
  {
    Error_Handler();
  }

}

static void MX_USART3_UART_Init(void)
{

  huart3.Instance = USART3;
  huart3.Init.BaudRate = 9600;
  huart3.Init.WordLength = UART_WORDLENGTH_8B;
  huart3.Init.StopBits = UART_STOPBITS_1;
  huart3.Init.Parity = UART_PARITY_NONE;
  huart3.Init.Mode = UART_MODE_TX_RX;
  huart3.Init.HwFlowCtl = UART_HWCONTROL_NONE;
  huart3.Init.OverSampling = UART_OVERSAMPLING_16;
  huart3.Init.OneBitSampling = UART_ONE_BIT_SAMPLE_DISABLE;
  huart3.AdvancedInit.AdvFeatureInit = UART_ADVFEATURE_NO_INIT;
  if (HAL_UART_Init(&huart3) != HAL_OK)
  {
    Error_Handler();
  }

}

static void MX_DMA_Init(void)
{

  /* DMA controller clock enable */
  __HAL_RCC_DMA1_CLK_ENABLE();

  /* DMA interrupt init */
  /* DMA1_Channel3_IRQn interrupt configuration */
  HAL_NVIC_SetPriority(DMA1_Channel3_IRQn, 0, 0);
  HAL_NVIC_EnableIRQ(DMA1_Channel3_IRQn);

}

static void MX_GPIO_Init(void)
{
  GPIO_InitTypeDef GPIO_InitStruct = {0};

  /* GPIO Ports Clock Enable */
  __HAL_RCC_GPIOC_CLK_ENABLE();
  __HAL_RCC_GPIOH_CLK_ENABLE();
  __HAL_RCC_GPIOA_CLK_ENABLE();
  __HAL_RCC_GPIOB_CLK_ENABLE();
  __HAL_RCC_GPIOD_CLK_ENABLE();

  /*Configure GPIO pin Output Level */
  HAL_GPIO_WritePin(GPIOC, MATRIX_COL3_Pin|MATRIX_COL4_Pin|MATRIX_ROW2_Pin|MATRIX_COL5_Pin
                          |MATRIX_ROW7_Pin|MATRIX_ROW5_Pin|MATRIX_ROW6_Pin|M3_A1_Pin
                          |Mx_EN_Pin|M1_A1_Pin|M1_A2_Pin|M1_B1_Pin
                          |M1_B2_Pin|MATRIX_COL0_Pin|MATRIX_COL1_Pin|MATRIX_COL2_Pin, GPIO_PIN_RESET);

  /*Configure GPIO pin Output Level */
  HAL_GPIO_WritePin(GPIOH, MATRIX_ROW3_Pin|MATRIX_ROW4_Pin, GPIO_PIN_RESET);

  /*Configure GPIO pin Output Level */
  HAL_GPIO_WritePin(GPIOA, MATRIX_COL7_Pin|M2_B2_Pin|M2_B1_Pin|MATRIX_ROW1_Pin, GPIO_PIN_RESET);

  /*Configure GPIO pin Output Level */
  HAL_GPIO_WritePin(GPIOB, MATRIX_COL6_Pin|BEAM_CLK_Pin|M3_B1_Pin|M3_B2_Pin
                          |M3_A2_Pin|M2_A1_Pin|M2_A2_Pin, GPIO_PIN_RESET);

  /*Configure GPIO pin Output Level */
  HAL_GPIO_WritePin(MATRIX_ROW0_GPIO_Port, MATRIX_ROW0_Pin, GPIO_PIN_RESET);

  /*Configure GPIO pins : MATRIX_COL3_Pin MATRIX_COL4_Pin MATRIX_ROW2_Pin MATRIX_COL5_Pin
                           MATRIX_ROW7_Pin MATRIX_ROW5_Pin MATRIX_ROW6_Pin M3_A1_Pin
                           Mx_EN_Pin M1_A1_Pin M1_A2_Pin M1_B1_Pin
                           M1_B2_Pin MATRIX_COL0_Pin MATRIX_COL1_Pin MATRIX_COL2_Pin */
  GPIO_InitStruct.Pin = MATRIX_COL3_Pin|MATRIX_COL4_Pin|MATRIX_ROW2_Pin|MATRIX_COL5_Pin
                          |MATRIX_ROW7_Pin|MATRIX_ROW5_Pin|MATRIX_ROW6_Pin|M3_A1_Pin
                          |Mx_EN_Pin|M1_A1_Pin|M1_A2_Pin|M1_B1_Pin
                          |M1_B2_Pin|MATRIX_COL0_Pin|MATRIX_COL1_Pin|MATRIX_COL2_Pin;
  GPIO_InitStruct.Mode = GPIO_MODE_OUTPUT_PP;
  GPIO_InitStruct.Pull = GPIO_NOPULL;
  GPIO_InitStruct.Speed = GPIO_SPEED_FREQ_LOW;
  HAL_GPIO_Init(GPIOC, &GPIO_InitStruct);

  /*Configure GPIO pins : MATRIX_ROW3_Pin MATRIX_ROW4_Pin */
  GPIO_InitStruct.Pin = MATRIX_ROW3_Pin|MATRIX_ROW4_Pin;
  GPIO_InitStruct.Mode = GPIO_MODE_OUTPUT_PP;
  GPIO_InitStruct.Pull = GPIO_NOPULL;
  GPIO_InitStruct.Speed = GPIO_SPEED_FREQ_LOW;
  HAL_GPIO_Init(GPIOH, &GPIO_InitStruct);

  /*Configure GPIO pins : MATRIX_COL7_Pin M2_B2_Pin M2_B1_Pin MATRIX_ROW1_Pin */
  GPIO_InitStruct.Pin = MATRIX_COL7_Pin|M2_B2_Pin|M2_B1_Pin|MATRIX_ROW1_Pin;
  GPIO_InitStruct.Mode = GPIO_MODE_OUTPUT_PP;
  GPIO_InitStruct.Pull = GPIO_NOPULL;
  GPIO_InitStruct.Speed = GPIO_SPEED_FREQ_LOW;
  HAL_GPIO_Init(GPIOA, &GPIO_InitStruct);

  /*Configure GPIO pins : U0_ECHO_Pin U1_ECHO_Pin */
  GPIO_InitStruct.Pin = U0_ECHO_Pin|U1_ECHO_Pin;
  GPIO_InitStruct.Mode = GPIO_MODE_IT_RISING_FALLING;
  GPIO_InitStruct.Pull = GPIO_NOPULL;
  HAL_GPIO_Init(GPIOA, &GPIO_InitStruct);

  /*Configure GPIO pins : MATRIX_COL6_Pin BEAM_CLK_Pin M3_B1_Pin M3_B2_Pin
                           M3_A2_Pin M2_A1_Pin M2_A2_Pin */
  GPIO_InitStruct.Pin = MATRIX_COL6_Pin|BEAM_CLK_Pin|M3_B1_Pin|M3_B2_Pin
                          |M3_A2_Pin|M2_A1_Pin|M2_A2_Pin;
  GPIO_InitStruct.Mode = GPIO_MODE_OUTPUT_PP;
  GPIO_InitStruct.Pull = GPIO_NOPULL;
  GPIO_InitStruct.Speed = GPIO_SPEED_FREQ_LOW;
  HAL_GPIO_Init(GPIOB, &GPIO_InitStruct);

  /*Configure GPIO pin : BEAM_DOUT_Pin */
  GPIO_InitStruct.Pin = BEAM_DOUT_Pin;
  GPIO_InitStruct.Mode = GPIO_MODE_INPUT;
  GPIO_InitStruct.Pull = GPIO_NOPULL;
  HAL_GPIO_Init(BEAM_DOUT_GPIO_Port, &GPIO_InitStruct);

  /*Configure GPIO pin : SW_Pin */
  GPIO_InitStruct.Pin = SW_Pin;
  GPIO_InitStruct.Mode = GPIO_MODE_INPUT;
  GPIO_InitStruct.Pull = GPIO_PULLUP;
  HAL_GPIO_Init(SW_GPIO_Port, &GPIO_InitStruct);

  /*Configure GPIO pin : MATRIX_ROW0_Pin */
  GPIO_InitStruct.Pin = MATRIX_ROW0_Pin;
  GPIO_InitStruct.Mode = GPIO_MODE_OUTPUT_PP;
  GPIO_InitStruct.Pull = GPIO_NOPULL;
  GPIO_InitStruct.Speed = GPIO_SPEED_FREQ_LOW;
  HAL_GPIO_Init(MATRIX_ROW0_GPIO_Port, &GPIO_InitStruct);

  /* EXTI interrupt init*/
  HAL_NVIC_SetPriority(EXTI9_5_IRQn, 0, 0);
  HAL_NVIC_EnableIRQ(EXTI9_5_IRQn);

}

void Error_Handler(void)
{
  __disable_irq();
  while (1)
  {
  }
}
